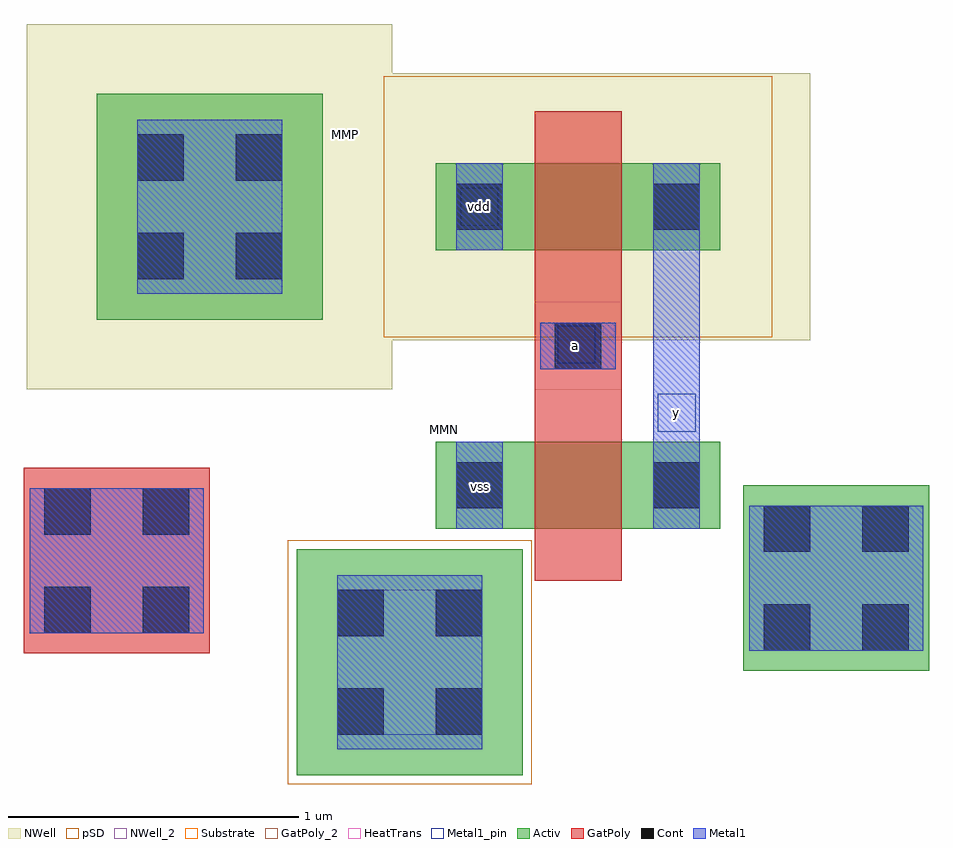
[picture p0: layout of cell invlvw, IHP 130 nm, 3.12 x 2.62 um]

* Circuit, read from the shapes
.subckt invlvw a vdd vss y
XM1 y a vss VSUBS sg13_lv_nmos w=0.3u l=0.3u
XM2 y a vdd ntap1_4/well sg13_lv_pmos w=0.3u l=0.3u
.ends

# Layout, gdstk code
import gdstk
lib = gdstk.Library(unit=1e-6, precision=1e-09)
def R(c, l, rs):  # rectangles x0, y0, x1, y1
    for r in rs: c.add(gdstk.rectangle(r[:2], r[2:], *l))
Activ = (1, 0)
GatPoly = (5, 0)
GatPoly_2 = (5, 2)
Cont = (6, 0)
Metal1 = (8, 0)
Metal1_pin = (8, 2)
pSD = (14, 0)
NWell = (31, 0)
NWell_2 = (31, 2)
Substrate = (40, 0)
HeatTrans = (51, 0)

nmos = lib.new_cell('nmos')
R(nmos, Activ, [(0,0,0.3,0.3), (0,0,0.98,0.3), (0.68,0,0.98,0.3)])
R(nmos, GatPoly, [(0.34,-0.18,0.64,0.48)])
R(nmos, GatPoly_2, [(0.34,-0.18,0.64,0.48)])
R(nmos, Cont, [(0.07,0.07,0.23,0.23), (0.75,0.07,0.91,0.23)])
R(nmos, Metal1, [(0.07,0,0.23,0.3), (0.75,0,0.91,0.3)])
R(nmos, Metal1_pin, [(0.07,0,0.23,0.3), (0.75,0,0.91,0.3)])
R(nmos, HeatTrans, [(0.34,-0.18,0.64,0.48)])
nmos.add(gdstk.Label('nmos', (0.49,0.15), layer=63, texttype=0))
nmos.add(gdstk.Label('nmos', (0.49,0.15), layer=51, texttype=0))

pmos = lib.new_cell('pmos')
R(pmos, Activ, [(0,0,0.3,0.3), (0,0,0.98,0.3), (0.68,0,0.98,0.3)])
R(pmos, GatPoly, [(0.34,-0.18,0.64,0.48), (0.34,-0.18,0.64,0.48)])
R(pmos, Cont, [(0.07,0.07,0.23,0.23), (0.75,0.07,0.91,0.23)])
R(pmos, Metal1, [(0.07,0,0.23,0.3), (0.07,0,0.23,0.3), (0.75,0,0.91,0.3), (0.75,0,0.91,0.3)])
R(pmos, pSD, [(-0.18,-0.3,1.16,0.6)])
R(pmos, NWell, [(-0.31,-0.31,1.29,0.61)])
R(pmos, HeatTrans, [(0.34,-0.18,0.64,0.48)])
pmos.add(gdstk.Label('pmos', (0.49,0.15), layer=63, texttype=0))
pmos.add(gdstk.Label('pmos', (0.49,0.15), layer=51, texttype=0))

ptap1 = lib.new_cell('ptap1')
R(ptap1, Activ, [(0,0,0.78,0.78)])
R(ptap1, Cont, [(0.14,0.14,0.3,0.3), (0.48,0.14,0.64,0.3), (0.14,0.48,0.3,0.64), (0.48,0.48,0.64,0.64)])
R(ptap1, Metal1, [(0.14,0.09,0.64,0.69), (0.14,0.14,0.64,0.64)])
R(ptap1, Metal1_pin, [(0.14,0.14,0.64,0.64)])
R(ptap1, pSD, [(-0.03,-0.03,0.81,0.81)])
R(ptap1, Substrate, [(0,0,0.78,0.78)])
ptap1.add(gdstk.Label('sub!', (0.39,0.01), layer=63, texttype=0))
ptap1.add(gdstk.Label('sub!', (0.39,0.01), layer=40, texttype=0))

via_stack = lib.new_cell('via_stack')
R(via_stack, GatPoly, [(-0.15,-0.15,0.15,0.15)])
R(via_stack, Cont, [(-0.08,-0.08,0.08,0.08)])
R(via_stack, Metal1, [(-0.13,-0.08,0.13,0.08)])

ntap1 = lib.new_cell('ntap1')
R(ntap1, Activ, [(0,0,0.78,0.78)])
R(ntap1, Cont, [(0.14,0.14,0.3,0.3), (0.48,0.14,0.64,0.3), (0.14,0.48,0.3,0.64), (0.48,0.48,0.64,0.64)])
R(ntap1, Metal1, [(0.14,0.09,0.64,0.69)])
R(ntap1, Metal1_pin, [(0.14,0.09,0.64,0.69), (0.14,0.14,0.64,0.64)])
R(ntap1, NWell, [(-0.24,-0.24,1.02,1.02), (0,0,0.78,0.78)])
R(ntap1, NWell_2, [(0,0,0.78,0.78)])
ntap1.add(gdstk.Label('well', (0.39,0.01), layer=31, texttype=0))
ntap1.add(gdstk.Label('well', (0.39,0.01), layer=63, texttype=0))

via_stack_3 = lib.new_cell('via_stack$3')
R(via_stack_3, GatPoly, [(-0.32,-0.32,0.32,0.32)])
R(via_stack_3, Cont, [(-0.25,-0.25,-0.09,-0.09), (0.09,-0.25,0.25,-0.09), (-0.25,0.09,-0.09,0.25), (0.09,0.09,0.25,0.25)])
R(via_stack_3, Metal1, [(-0.3,-0.25,0.3,0.25)])

via_stack_2 = lib.new_cell('via_stack$2')
R(via_stack_2, Activ, [(-0.32,-0.32,0.32,0.32)])
R(via_stack_2, Cont, [(-0.25,-0.25,-0.09,-0.09), (0.09,-0.25,0.25,-0.09), (-0.25,0.09,-0.09,0.25), (0.09,0.09,0.25,0.25)])
R(via_stack_2, Metal1, [(-0.3,-0.25,0.3,0.25)])

invlvw = lib.new_cell('invlvw')
R(invlvw, Metal1, [(1.06,0.61,1.22,1.27)])
R(invlvw, Metal1_pin, [(0.4,0.38,0.53,0.51), (1.075,0.645,1.205,0.775), (0.73,0.88,0.86,1.01), (0.395,1.355,0.525,1.485)])
invlvw.add(gdstk.Reference(nmos, (0.31,0.31)))
invlvw.add(gdstk.Reference(pmos, (0.31,1.27)))
invlvw.add(gdstk.Reference(ptap1, (-0.17,-0.54)))
invlvw.add(gdstk.Reference(via_stack, (0.8,0.94)))
invlvw.add(gdstk.Reference(ntap1, (-0.86,1.03)))
invlvw.add(gdstk.Reference(via_stack_3, (-0.79,0.2)))
invlvw.add(gdstk.Reference(via_stack_2, (1.69,0.14)))
invlvw.add(gdstk.Label('MMP', (0,1.67), layer=63, texttype=0))
invlvw.add(gdstk.Label('MMN', (0.341,0.651), layer=63, texttype=0))
invlvw.add(gdstk.Label('a', (0.79,0.94), layer=8, texttype=25))
invlvw.add(gdstk.Label('vdd', (0.46,1.42), layer=8, texttype=25))
invlvw.add(gdstk.Label('vss', (0.464,0.454), layer=8, texttype=25))
invlvw.add(gdstk.Label('y', (1.14,0.71), layer=8, texttype=25))

lib.write_gds('invlvw.gds')
